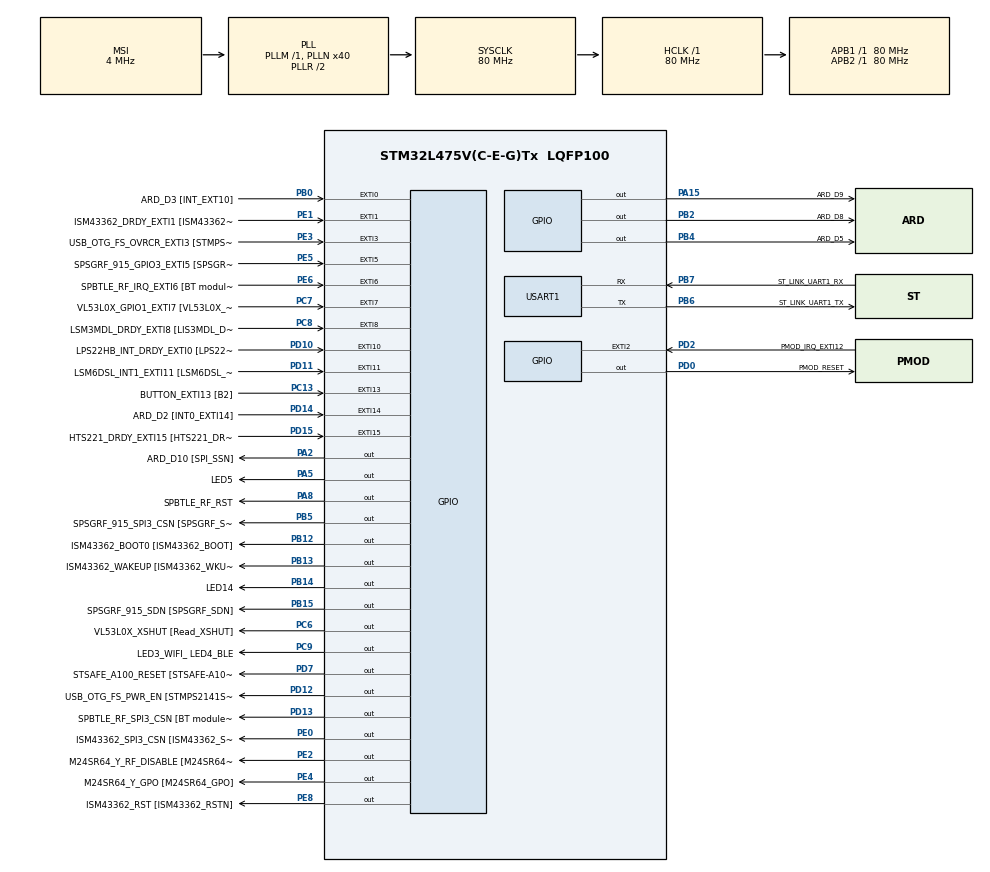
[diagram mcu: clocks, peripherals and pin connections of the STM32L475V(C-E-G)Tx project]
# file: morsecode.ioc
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Dma.Request0=USART1_RX
Dma.Request1=TIM1_UP
Dma.TIM1_UP.1.Direction=DMA_PERIPH_TO_MEMORY
Dma.TIM1_UP.1.Instance=DMA1_Channel6
Dma.TIM1_UP.1.MemDataAlignment=DMA_MDATAALIGN_HALFWORD
Dma.TIM1_UP.1.MemInc=DMA_MINC_ENABLE
Dma.TIM1_UP.1.Mode=DMA_NORMAL
Dma.TIM1_UP.1.PeriphDataAlignment=DMA_PDATAALIGN_HALFWORD
Dma.TIM1_UP.1.PeriphInc=DMA_PINC_DISABLE
Dma.TIM1_UP.1.Priority=DMA_PRIORITY_LOW
Dma.USART1_RX.0.Direction=DMA_PERIPH_TO_MEMORY
Dma.USART1_RX.0.Instance=DMA1_Channel5
Dma.USART1_RX.0.MemDataAlignment=DMA_MDATAALIGN_BYTE
Dma.USART1_RX.0.MemInc=DMA_MINC_ENABLE
Dma.USART1_RX.0.Mode=DMA_CIRCULAR
Dma.USART1_RX.0.PeriphDataAlignment=DMA_PDATAALIGN_BYTE
Dma.USART1_RX.0.PeriphInc=DMA_PINC_DISABLE
Dma.USART1_RX.0.Priority=DMA_PRIORITY_LOW
Mcu.Family=STM32L4
Mcu.Name=STM32L475V(C-E-G)Tx
Mcu.Package=LQFP100
NVIC.DMA1_Channel5_IRQn=true\:0\:0\:false\:false\:true\:false\:true
NVIC.DMA1_Channel6_IRQn=true\:0\:0\:false\:false\:true\:false\:true
NVIC.EXTI15_10_IRQn=true\:0\:0\:false\:false\:true\:true\:true
NVIC.EXTI9_5_IRQn=true\:0\:0\:false\:false\:true\:true\:true
NVIC.PriorityGroup=NVIC_PRIORITYGROUP_4
NVIC.USART1_IRQn=true\:0\:0\:false\:false\:true\:true\:true
PA0.GPIO_Label=ARD_D1 [UART4_TX]
PA0.Signal=UART4_TX
PA1.GPIO_Label=ARD_D0 [UART4_RX]
PA1.Signal=UART4_RX
PA10.GPIO_Label=USB_OTG_FS_ID
PA10.Signal=USB_OTG_FS_ID
PA11.GPIO_Label=USB_OTG_FS_DM
PA11.Signal=USB_OTG_FS_DM
PA12.GPIO_Label=USB_OTG_FS_DP
PA12.Signal=USB_OTG_FS_DP
PA13\ (JTMS-SWDIO).GPIO_Label=SYS_JTMS_SWDIO
PA13\ (JTMS-SWDIO).Signal=SYS_JTMS-SWDIO
PA14\ (JTCK-SWCLK).GPIO_Label=SYS_JTCK_SWCLK
PA14\ (JTCK-SWCLK).Signal=SYS_JTCK-SWCLK
PA15\ (JTDI).GPIO_Label=ARD_D9
PA15\ (JTDI).Signal=GPIO_Output
PA2.GPIO_Label=ARD_D10 [SPI_SSN]
PA2.Signal=GPIO_Output
PA3.GPIO_Label=ARD_D4
PA3.Signal=S_TIM2_CH4
PA4.GPIO_Label=ARD_D7
PA4.Signal=ADCx_IN9
PA5.GPIO_Label=LED5
PA5.Signal=GPIO_Output
PA6.GPIO_Label=ARD_D12 [SPI1_MISO]
PA6.Signal=SPI1_MISO
PA7.GPIO_Label=ARD_D11 [SPI1_MOSI]
PA7.Signal=SPI1_MOSI
PA8.GPIO_Label=SPBTLE_RF_RST
PA8.Signal=GPIO_Output
PA9.GPIO_Label=USB_OTG_FS_VBUS [STMPS2141STR_OUT]
PA9.Signal=USB_OTG_FS_VBUS
PB0.GPIO_Label=ARD_D3 [INT_EXT10]
PB0.Signal=GPXTI0
PB1.GPIO_Label=ARD_D6 [ADC1_IN6]
PB1.Signal=ADCx_IN16
PB10.GPIO_Label=INTERNAL_I2C2_SCL [VL53L0X_SCL]
PB10.Signal=I2C2_SCL
PB11.GPIO_Label=INTERNAL_I2C2_SDA [VL53L0X_SDA]
PB11.Signal=I2C2_SDA
PB12.GPIO_Label=ISM43362_BOOT0 [ISM43362_BOOT]
PB12.Signal=GPIO_Output
PB13.GPIO_Label=ISM43362_WAKEUP [ISM43362_WKUP]
PB13.Signal=GPIO_Output
PB14.GPIO_Label=LED14
PB14.Signal=GPIO_Output
PB15.GPIO_Label=SPSGRF_915_SDN [SPSGRF_SDN]
PB15.Signal=GPIO_Output
PB2.GPIO_Label=ARD_D8
PB2.Signal=GPIO_Output
PB3\ (JTDO-TRACESWO).GPIO_Label=SYS_JTD0_SWO
PB3\ (JTDO-TRACESWO).Signal=SYS_JTDO-SWO
PB4\ (NJTRST).GPIO_Label=ARD_D5
PB4\ (NJTRST).Signal=GPIO_Output
PB5.GPIO_Label=SPSGRF_915_SPI3_CSN [SPSGRF_SPI_CS]
PB5.PinState=GPIO_PIN_SET
PB5.Signal=GPIO_Output
PB6.GPIO_Label=ST_LINK_UART1_TX
PB6.Mode=Asynchronous
PB6.Signal=USART1_TX
PB7.GPIO_Label=ST_LINK_UART1_RX
PB7.Mode=Asynchronous
PB7.Signal=USART1_RX
PB8.GPIO_Label=ARD_D15 [I2C1_SCL]
PB8.Signal=I2C1_SCL
PB9.GPIO_Label=ARD_D14 [I2C1_SDA]
PB9.Signal=I2C1_SDA
PC0.GPIO_Label=ARD_A5 [ADC]
PC0.Signal=ADCx_IN1
PC1.GPIO_Label=ARD_A4 [ADC]
PC1.Signal=ADCx_IN2
PC10.GPIO_Label=INTERNAL_SPI3_SCK [BT module_SPI_SCLK] [ISM43362_SCK]
PC10.Signal=SPI3_SCK
PC11.GPIO_Label=INTERNAL_SPI3_MISO [BT module_SPI_MISO] [ISM43362_MISO]
PC11.Signal=SPI3_MISO
PC12.GPIO_Label=INTERNAL_SPI3_MOSI [BT module_SPI_MOSI] [ISM43362_MOSI]
PC12.Signal=SPI3_MOSI
PC13.GPIO_Label=BUTTON_EXTI13 [B2]
PC13.GPIO_ModeDefaultEXTI=GPIO_MODE_IT_FALLING
PC13.Signal=GPXTI13
PC14-OSC32_IN\ (PC14).Signal=RCC_OSC32_IN
PC15-OSC32_OUT\ (PC15).Signal=RCC_OSC32_OUT
PC2.GPIO_Label=ARD_A3 [ADC]
PC2.Signal=ADCx_IN3
PC3.GPIO_Label=ARD_A2 [ADC]
PC3.Signal=ADCx_IN4
PC4.GPIO_Label=ARD_A1 [ADC]
PC4.Signal=ADCx_IN13
PC5.GPIO_Label=ARD_A0 [ADC]
PC5.Signal=ADCx_IN14
PC6.GPIO_Label=VL53L0X_XSHUT [Read_XSHUT]
PC6.Signal=GPIO_Output
PC7.GPIO_Label=VL53L0X_GPIO1_EXTI7 [VL53L0X_GPIO1]
PC7.Signal=GPXTI7
PC8.GPIO_Label=LSM3MDL_DRDY_EXTI8 [LIS3MDL_DRDY]
PC8.Signal=GPXTI8
PC9.GPIO_Label=LED3_WIFI_ LED4_BLE
PC9.Signal=GPIO_Output
PD0.GPIO_Label=PMOD_RESET
PD0.Signal=GPIO_Output
PD1.GPIO_Label=PMOD_SPI2_SCK
PD1.Signal=SPI2_SCK
PD10.GPIO_Label=LPS22HB_INT_DRDY_EXTI0 [LPS22HB_INT_DRDY] 
PD10.Signal=GPXTI10
PD11.GPIO_Label=LSM6DSL_INT1_EXTI11 [LSM6DSL_INT1]
PD11.Signal=GPXTI11
PD12.GPIO_Label=USB_OTG_FS_PWR_EN [STMPS2141STR_EN]
PD12.Signal=GPIO_Output
PD13.GPIO_Label=SPBTLE_RF_SPI3_CSN [BT module_SPI_CS]
PD13.PinState=GPIO_PIN_SET
PD13.Signal=GPIO_Output
PD14.GPIO_Label=ARD_D2 [INT0_EXTI14]
PD14.Signal=GPXTI14
PD15.GPIO_Label=HTS221_DRDY_EXTI15 [HTS221_DRDY]
PD15.Signal=GPXTI15
PD2.GPIO_Label=PMOD_IRQ_EXTI12
PD2.Signal=GPXTI2
PD3.GPIO_Label=PMOD_UART2_CTS
PD3.Signal=USART2_CTS
PD4.GPIO_Label=PMOD_UART2_RTS
PD4.Signal=USART2_RTS
PD5.GPIO_Label=PMOD_UART2_TX
PD5.Signal=USART2_TX
PD6.GPIO_Label=PMOD_UART2_RX
PD6.Signal=USART2_RX
PD7.GPIO_Label=STSAFE_A100_RESET [STSAFE-A100_RESET]
PD7.Signal=GPIO_Output
PD8.GPIO_Label=INTERNAL_UART3_TX [ISM43362_RX]
PD8.Signal=USART3_TX
PD9.GPIO_Label=INTERNAL_UART3_RX [ISM43362_TX]
PD9.Signal=USART3_RX
PE0.GPIO_Label=ISM43362_SPI3_CSN [ISM43362_SSN]
PE0.PinState=GPIO_PIN_SET
PE0.Signal=GPIO_Output
PE1.GPIO_Label=ISM43362_DRDY_EXTI1 [ISM43362_DATARDY]
PE1.Signal=GPXTI1
PE10.GPIO_Label=QUADSPI_CLK [MX25R6435F_SCLK]
PE10.Signal=QUADSPI_CLK
PE11.GPIO_Label=QUADSPI_NCS [MX25R6435F_SCLK]
PE11.Signal=QUADSPI_NCS
PE12.GPIO_Label=OQUADSPI_BK1_IO0 [MX25R6435F_IO0]
PE12.Signal=QUADSPI_BK1_IO0
PE13.GPIO_Label=QUADSPI_BK1_IO1 [MX25R6435F_IO1]
PE13.Signal=QUADSPI_BK1_IO1
PE14.GPIO_Label=QUAD_SPI_BK1_IO2 [MX25R6435F_IO2]
PE14.Signal=QUADSPI_BK1_IO2
PE15.GPIO_Label=QUAD_SPI_BK1_IO3 [MX25R6435F_IO3]
PE15.Signal=QUADSPI_BK1_IO3
PE2.GPIO_Label=M24SR64_Y_RF_DISABLE [M24SR64_RFDIS]
PE2.Signal=GPIO_Output
PE3.GPIO_Label=USB_OTG_FS_OVRCR_EXTI3 [STMPS2141STR_FAULT]
PE3.Signal=GPXTI3
PE4.GPIO_Label=M24SR64_Y_GPO [M24SR64_GPO]
PE4.Signal=GPIO_Output
PE5.GPIO_Label=SPSGRF_915_GPIO3_EXTI5 [SPSGRF_GPIO_3]
PE5.Signal=GPXTI5
PE6.GPIO_Label=SPBTLE_RF_IRQ_EXTI6 [BT module_SPI_IRQ]
PE6.Signal=GPXTI6
PE7.GPIO_Label=DFSDM1_DATIN2 [MP34DT01_DOUT]
PE7.Signal=S_DATAIN2DFSDM1
PE8.GPIO_Label=ISM43362_RST [ISM43362_RSTN]
PE8.Signal=GPIO_Output
PE9.GPIO_Label=DFSDM1_CKOUT [MP34DT01_CLK]
PE9.Signal=S_CKOUTDFSDM1
ProjectManager.HeapSize=0x200
ProjectManager.StackSize=0x400
ProjectManager.TargetToolchain=STM32CubeIDE
RCC.ADCFreq_Value=48000000
RCC.AHBFreq_Value=80000000
RCC.APB1Freq_Value=80000000
RCC.APB1TimFreq_Value=80000000
RCC.APB2Freq_Value=80000000
RCC.APB2TimFreq_Value=80000000
RCC.CortexFreq_Value=80000000
RCC.HCLKFreq_Value=80000000
RCC.HSE_VALUE=8000000
RCC.HSI_VALUE=16000000
RCC.LSE_VALUE=32768
RCC.MSI_VALUE=4000000
RCC.PLLN=40
RCC.PLLSAI1N=24
RCC.SYSCLKFreq_VALUE=80000000
RCC.SYSCLKSource=RCC_SYSCLKSOURCE_PLLCLK
RCC.USBFreq_Value=48000000
RCC.VCOOutputFreq_Value=160000000
SH.ADCx_IN1.0=ADC1_IN1
SH.ADCx_IN13.0=ADC1_IN13
SH.ADCx_IN14.0=ADC1_IN14
SH.ADCx_IN16.0=ADC1_IN16
SH.ADCx_IN2.0=ADC1_IN2
SH.ADCx_IN3.0=ADC1_IN3
SH.ADCx_IN4.0=ADC1_IN4
SH.ADCx_IN9.0=ADC1_IN9
SH.S_CKOUTDFSDM1.0=DFSDM1_CKOUT
SH.S_DATAIN2DFSDM1.0=DFSDM1_DATIN2
SH.S_TIM2_CH4.0=TIM2_CH4
USART1.VirtualMode-Asynchronous=VM_ASYNC
VP_TIM1_VS_ClockSourceINT.Mode=Internal
board=B-L475E-IOT01A1

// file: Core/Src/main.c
/* USER CODE BEGIN Header */
/**
  ******************************************************************************
  * @file           : main.c
  * @brief          : Main program body
  ******************************************************************************
  * @attention
  *
  * <h2><center>&copy; Copyright (c) 2022 STMicroelectronics.
  * All rights reserved.</center></h2>
  *
  * This software component is licensed by ST under BSD 3-Clause license,
  * the "License"; You may not use this file except in compliance with the
  * License. You may obtain a copy of the License at:
  *                        opensource.org/licenses/BSD-3-Clause
  *
  ******************************************************************************
  */
/* USER CODE END Header */
#include "main.h"

/* USER CODE BEGIN Includes */
#include"stdio.h"
/* USER CODE END Includes */

/* USER CODE BEGIN PD */
// RULES OF MORSE CODE :                                                      //

// The length of a dot is 1 time unit.                                        //

// A dash is 3 time units.                                                    //

// The space between 2 initials are 3 time units.                             //

// 1 unit time presented by UNIT_TIME                                         //

#define UNIT_TIME 250
/* USER CODE END PD */

TIM_HandleTypeDef htim1;
DMA_HandleTypeDef hdma_tim1_up;

UART_HandleTypeDef huart1;
DMA_HandleTypeDef hdma_usart1_rx;

/* USER CODE BEGIN PV */
//uart_bfr 1 character buffer from serial communication

//cmd 1 character container from serial communication

uint8_t uart_bfr, cmd;

uint8_t cmdstate = 0; // cmdstate checking the user input it is written.

uint8_t init1; //containers of first and second initials

uint8_t init2;

uint8_t inits[2]; //array container of 2 initials

/* USER CODE END PV */

void SystemClock_Config(void);
static void MX_GPIO_Init(void);
static void MX_USART1_UART_Init(void);
static void MX_DMA_Init(void);
static void MX_TIM1_Init(void);

int main(void)
{

  /* MCU Configuration--------------------------------------------------------*/

  /* Reset of all peripherals, Initializes the Flash interface and the Systick. */
  HAL_Init();

  /* Configure the system clock */
  SystemClock_Config();

  /* Initialize all configured peripherals */
  MX_GPIO_Init();
  MX_USART1_UART_Init();
  MX_DMA_Init();
  MX_TIM1_Init();
  /* USER CODE BEGIN 2 */
  HAL_UART_Receive_DMA(&huart1, &uart_bfr, 1);
  /* USER CODE END 2 */

  /* Infinite loop */
  while (1)
  {

    /* USER CODE BEGIN 3 */
	  // The codes for user interface

		  HAL_UART_Transmit(&huart1, "\r\n", 2, 1000);

		  HAL_UART_Transmit(&huart1,"----------------------------------------\r\n", 42, 1000);

		  HAL_UART_Transmit(&huart1, "Please type your first initial\r\n", 32,1000);

		  HAL_UART_Transmit(&huart1,"Use only capital letter and 1 character:\r\n", 42, 1000);
		  HAL_UART_Receive_DMA(&huart1, uart_bfr, 1);
		  checkLetter(uart_bfr); // Check the first initial if it is between [A-Z]

		  init1 = cmd; // Store the character if it is between [A-Z]

		  HAL_UART_Transmit(&huart1,"----------------------------------------\r\n", 42, 1000);

		  HAL_UART_Transmit(&huart1, "Please type your second initial\r\n", 33,1000);

		  HAL_UART_Transmit(&huart1,"Use only capital letter and 1 character:\r\n", 42, 1000);

		  HAL_UART_Receive_DMA(&huart1, uart_bfr, 1);
		  checkLetter(uart_bfr); // Check the second initial if it is between [A-Z]

		  init2 = cmd; // Store the character if it is between [A-Z]

		  start(); // Indicate 2 stored initials with LED on board
  }
  /* USER CODE END 3 */
}

void SystemClock_Config(void)
{
  RCC_OscInitTypeDef RCC_OscInitStruct = {0};
  RCC_ClkInitTypeDef RCC_ClkInitStruct = {0};

  /** Configure the main internal regulator output voltage
  */
  if (HAL_PWREx_ControlVoltageScaling(PWR_REGULATOR_VOLTAGE_SCALE1) != HAL_OK)
  {
    Error_Handler();
  }
  /** Initializes the RCC Oscillators according to the specified parameters
  * in the RCC_OscInitTypeDef structure.
  */
  RCC_OscInitStruct.OscillatorType = RCC_OSCILLATORTYPE_MSI;
  RCC_OscInitStruct.MSIState = RCC_MSI_ON;
  RCC_OscInitStruct.MSICalibrationValue = 0;
  RCC_OscInitStruct.MSIClockRange = RCC_MSIRANGE_6;
  RCC_OscInitStruct.PLL.PLLState = RCC_PLL_ON;
  RCC_OscInitStruct.PLL.PLLSource = RCC_PLLSOURCE_MSI;
  RCC_OscInitStruct.PLL.PLLM = 1;
  RCC_OscInitStruct.PLL.PLLN = 40;
  RCC_OscInitStruct.PLL.PLLP = RCC_PLLP_DIV7;
  RCC_OscInitStruct.PLL.PLLQ = RCC_PLLQ_DIV2;
  RCC_OscInitStruct.PLL.PLLR = RCC_PLLR_DIV2;
  if (HAL_RCC_OscConfig(&RCC_OscInitStruct) != HAL_OK)
  {
    Error_Handler();
  }
  /** Initializes the CPU, AHB and APB buses clocks
  */
  RCC_ClkInitStruct.ClockType = RCC_CLOCKTYPE_HCLK|RCC_CLOCKTYPE_SYSCLK
                              |RCC_CLOCKTYPE_PCLK1|RCC_CLOCKTYPE_PCLK2;
  RCC_ClkInitStruct.SYSCLKSource = RCC_SYSCLKSOURCE_PLLCLK;
  RCC_ClkInitStruct.AHBCLKDivider = RCC_SYSCLK_DIV1;
  RCC_ClkInitStruct.APB1CLKDivider = RCC_HCLK_DIV1;
  RCC_ClkInitStruct.APB2CLKDivider = RCC_HCLK_DIV1;

  if (HAL_RCC_ClockConfig(&RCC_ClkInitStruct, FLASH_LATENCY_4) != HAL_OK)
  {
    Error_Handler();
  }
}

static void MX_TIM1_Init(void)
{

  TIM_ClockConfigTypeDef sClockSourceConfig = {0};
  TIM_MasterConfigTypeDef sMasterConfig = {0};

  htim1.Instance = TIM1;
  htim1.Init.Prescaler = 0;
  htim1.Init.CounterMode = TIM_COUNTERMODE_UP;
  htim1.Init.Period = 65535;
  htim1.Init.ClockDivision = TIM_CLOCKDIVISION_DIV1;
  htim1.Init.RepetitionCounter = 0;
  htim1.Init.AutoReloadPreload = TIM_AUTORELOAD_PRELOAD_DISABLE;
  if (HAL_TIM_Base_Init(&htim1) != HAL_OK)
  {
    Error_Handler();
  }
  sClockSourceConfig.ClockSource = TIM_CLOCKSOURCE_INTERNAL;
  if (HAL_TIM_ConfigClockSource(&htim1, &sClockSourceConfig) != HAL_OK)
  {
    Error_Handler();
  }
  sMasterConfig.MasterOutputTrigger = TIM_TRGO_RESET;
  sMasterConfig.MasterOutputTrigger2 = TIM_TRGO2_RESET;
  sMasterConfig.MasterSlaveMode = TIM_MASTERSLAVEMODE_DISABLE;
  if (HAL_TIMEx_MasterConfigSynchronization(&htim1, &sMasterConfig) != HAL_OK)
  {
    Error_Handler();
  }

}

static void MX_USART1_UART_Init(void)
{

  huart1.Instance = USART1;
  huart1.Init.BaudRate = 115200;
  huart1.Init.WordLength = UART_WORDLENGTH_8B;
  huart1.Init.StopBits = UART_STOPBITS_1;
  huart1.Init.Parity = UART_PARITY_NONE;
  huart1.Init.Mode = UART_MODE_TX_RX;
  huart1.Init.HwFlowCtl = UART_HWCONTROL_NONE;
  huart1.Init.OverSampling = UART_OVERSAMPLING_16;
  huart1.Init.OneBitSampling = UART_ONE_BIT_SAMPLE_DISABLE;
  huart1.AdvancedInit.AdvFeatureInit = UART_ADVFEATURE_NO_INIT;
  if (HAL_UART_Init(&huart1) != HAL_OK)
  {
    Error_Handler();
  }

}

static void MX_DMA_Init(void)
{

  /* DMA controller clock enable */
  __HAL_RCC_DMA1_CLK_ENABLE();

  /* DMA interrupt init */
  /* DMA1_Channel5_IRQn interrupt configuration */
  HAL_NVIC_SetPriority(DMA1_Channel5_IRQn, 0, 0);
  HAL_NVIC_EnableIRQ(DMA1_Channel5_IRQn);
  /* DMA1_Channel6_IRQn interrupt configuration */
  HAL_NVIC_SetPriority(DMA1_Channel6_IRQn, 0, 0);
  HAL_NVIC_EnableIRQ(DMA1_Channel6_IRQn);

}

static void MX_GPIO_Init(void)
{
  GPIO_InitTypeDef GPIO_InitStruct = {0};

  /* GPIO Ports Clock Enable */
  __HAL_RCC_GPIOE_CLK_ENABLE();
  __HAL_RCC_GPIOC_CLK_ENABLE();
  __HAL_RCC_GPIOA_CLK_ENABLE();
  __HAL_RCC_GPIOB_CLK_ENABLE();
  __HAL_RCC_GPIOD_CLK_ENABLE();

  /*Configure GPIO pin Output Level */
  HAL_GPIO_WritePin(GPIOE, M24SR64_Y_RF_DISABLE_Pin|M24SR64_Y_GPO_Pin|ISM43362_RST_Pin, GPIO_PIN_RESET);

  /*Configure GPIO pin Output Level */
  HAL_GPIO_WritePin(GPIOA, ARD_D10_Pin|LED5_Pin|SPBTLE_RF_RST_Pin|ARD_D9_Pin, GPIO_PIN_RESET);

  /*Configure GPIO pin Output Level */
  HAL_GPIO_WritePin(GPIOB, ARD_D8_Pin|ISM43362_BOOT0_Pin|ISM43362_WAKEUP_Pin|LED14_Pin
                          |SPSGRF_915_SDN_Pin|ARD_D5_Pin, GPIO_PIN_RESET);

  /*Configure GPIO pin Output Level */
  HAL_GPIO_WritePin(GPIOD, USB_OTG_FS_PWR_EN_Pin|PMOD_RESET_Pin|STSAFE_A100_RESET_Pin, GPIO_PIN_RESET);

  /*Configure GPIO pin Output Level */
  HAL_GPIO_WritePin(SPBTLE_RF_SPI3_CSN_GPIO_Port, SPBTLE_RF_SPI3_CSN_Pin, GPIO_PIN_SET);

  /*Configure GPIO pin Output Level */
  HAL_GPIO_WritePin(GPIOC, VL53L0X_XSHUT_Pin|LED3_WIFI__LED4_BLE_Pin, GPIO_PIN_RESET);

  /*Configure GPIO pin Output Level */
  HAL_GPIO_WritePin(SPSGRF_915_SPI3_CSN_GPIO_Port, SPSGRF_915_SPI3_CSN_Pin, GPIO_PIN_SET);

  /*Configure GPIO pin Output Level */
  HAL_GPIO_WritePin(ISM43362_SPI3_CSN_GPIO_Port, ISM43362_SPI3_CSN_Pin, GPIO_PIN_SET);

  /*Configure GPIO pins : M24SR64_Y_RF_DISABLE_Pin M24SR64_Y_GPO_Pin ISM43362_RST_Pin ISM43362_SPI3_CSN_Pin */
  GPIO_InitStruct.Pin = M24SR64_Y_RF_DISABLE_Pin|M24SR64_Y_GPO_Pin|ISM43362_RST_Pin|ISM43362_SPI3_CSN_Pin;
  GPIO_InitStruct.Mode = GPIO_MODE_OUTPUT_PP;
  GPIO_InitStruct.Pull = GPIO_NOPULL;
  GPIO_InitStruct.Speed = GPIO_SPEED_FREQ_LOW;
  HAL_GPIO_Init(GPIOE, &GPIO_InitStruct);

  /*Configure GPIO pins : USB_OTG_FS_OVRCR_EXTI3_Pin SPSGRF_915_GPIO3_EXTI5_Pin SPBTLE_RF_IRQ_EXTI6_Pin ISM43362_DRDY_EXTI1_Pin */
  GPIO_InitStruct.Pin = USB_OTG_FS_OVRCR_EXTI3_Pin|SPSGRF_915_GPIO3_EXTI5_Pin|SPBTLE_RF_IRQ_EXTI6_Pin|ISM43362_DRDY_EXTI1_Pin;
  GPIO_InitStruct.Mode = GPIO_MODE_IT_RISING;
  GPIO_InitStruct.Pull = GPIO_NOPULL;
  HAL_GPIO_Init(GPIOE, &GPIO_InitStruct);

  /*Configure GPIO pin : BUTTON_EXTI13_Pin */
  GPIO_InitStruct.Pin = BUTTON_EXTI13_Pin;
  GPIO_InitStruct.Mode = GPIO_MODE_IT_FALLING;
  GPIO_InitStruct.Pull = GPIO_NOPULL;
  HAL_GPIO_Init(BUTTON_EXTI13_GPIO_Port, &GPIO_InitStruct);

  /*Configure GPIO pins : ARD_A5_Pin ARD_A4_Pin ARD_A3_Pin ARD_A2_Pin
                           ARD_A1_Pin ARD_A0_Pin */
  GPIO_InitStruct.Pin = ARD_A5_Pin|ARD_A4_Pin|ARD_A3_Pin|ARD_A2_Pin
                          |ARD_A1_Pin|ARD_A0_Pin;
  GPIO_InitStruct.Mode = GPIO_MODE_ANALOG_ADC_CONTROL;
  GPIO_InitStruct.Pull = GPIO_NOPULL;
  HAL_GPIO_Init(GPIOC, &GPIO_InitStruct);

  /*Configure GPIO pins : ARD_D1_Pin ARD_D0_Pin */
  GPIO_InitStruct.Pin = ARD_D1_Pin|ARD_D0_Pin;
  GPIO_InitStruct.Mode = GPIO_MODE_AF_PP;
  GPIO_InitStruct.Pull = GPIO_NOPULL;
  GPIO_InitStruct.Speed = GPIO_SPEED_FREQ_VERY_HIGH;
  GPIO_InitStruct.Alternate = GPIO_AF8_UART4;
  HAL_GPIO_Init(GPIOA, &GPIO_InitStruct);

  /*Configure GPIO pins : ARD_D10_Pin LED5_Pin SPBTLE_RF_RST_Pin ARD_D9_Pin */
  GPIO_InitStruct.Pin = ARD_D10_Pin|LED5_Pin|SPBTLE_RF_RST_Pin|ARD_D9_Pin;
  GPIO_InitStruct.Mode = GPIO_MODE_OUTPUT_PP;
  GPIO_InitStruct.Pull = GPIO_NOPULL;
  GPIO_InitStruct.Speed = GPIO_SPEED_FREQ_LOW;
  HAL_GPIO_Init(GPIOA, &GPIO_InitStruct);

  /*Configure GPIO pin : ARD_D4_Pin */
  GPIO_InitStruct.Pin = ARD_D4_Pin;
  GPIO_InitStruct.Mode = GPIO_MODE_AF_PP;
  GPIO_InitStruct.Pull = GPIO_NOPULL;
  GPIO_InitStruct.Speed = GPIO_SPEED_FREQ_LOW;
  GPIO_InitStruct.Alternate = GPIO_AF1_TIM2;
  HAL_GPIO_Init(ARD_D4_GPIO_Port, &GPIO_InitStruct);

  /*Configure GPIO pin : ARD_D7_Pin */
  GPIO_InitStruct.Pin = ARD_D7_Pin;
  GPIO_InitStruct.Mode = GPIO_MODE_ANALOG_ADC_CONTROL;
  GPIO_InitStruct.Pull = GPIO_NOPULL;
  HAL_GPIO_Init(ARD_D7_GPIO_Port, &GPIO_InitStruct);

  /*Configure GPIO pins : ARD_D12_Pin ARD_D11_Pin */
  GPIO_InitStruct.Pin = ARD_D12_Pin|ARD_D11_Pin;
  GPIO_InitStruct.Mode = GPIO_MODE_AF_PP;
  GPIO_InitStruct.Pull = GPIO_NOPULL;
  GPIO_InitStruct.Speed = GPIO_SPEED_FREQ_VERY_HIGH;
  GPIO_InitStruct.Alternate = GPIO_AF5_SPI1;
  HAL_GPIO_Init(GPIOA, &GPIO_InitStruct);

  /*Configure GPIO pin : ARD_D3_Pin */
  GPIO_InitStruct.Pin = ARD_D3_Pin;
  GPIO_InitStruct.Mode = GPIO_MODE_IT_RISING;
  GPIO_InitStruct.Pull = GPIO_NOPULL;
  HAL_GPIO_Init(ARD_D3_GPIO_Port, &GPIO_InitStruct);

  /*Configure GPIO pin : ARD_D6_Pin */
  GPIO_InitStruct.Pin = ARD_D6_Pin;
  GPIO_InitStruct.Mode = GPIO_MODE_ANALOG_ADC_CONTROL;
  GPIO_InitStruct.Pull = GPIO_NOPULL;
  HAL_GPIO_Init(ARD_D6_GPIO_Port, &GPIO_InitStruct);

  /*Configure GPIO pins : ARD_D8_Pin ISM43362_BOOT0_Pin ISM43362_WAKEUP_Pin LED14_Pin
                           SPSGRF_915_SDN_Pin ARD_D5_Pin SPSGRF_915_SPI3_CSN_Pin */
  GPIO_InitStruct.Pin = ARD_D8_Pin|ISM43362_BOOT0_Pin|ISM43362_WAKEUP_Pin|LED14_Pin
                          |SPSGRF_915_SDN_Pin|ARD_D5_Pin|SPSGRF_915_SPI3_CSN_Pin;
  GPIO_InitStruct.Mode = GPIO_MODE_OUTPUT_PP;
  GPIO_InitStruct.Pull = GPIO_NOPULL;
  GPIO_InitStruct.Speed = GPIO_SPEED_FREQ_LOW;
  HAL_GPIO_Init(GPIOB, &GPIO_InitStruct);

  /*Configure GPIO pins : DFSDM1_DATIN2_Pin DFSDM1_CKOUT_Pin */
  GPIO_InitStruct.Pin = DFSDM1_DATIN2_Pin|DFSDM1_CKOUT_Pin;
  GPIO_InitStruct.Mode = GPIO_MODE_AF_PP;
  GPIO_InitStruct.Pull = GPIO_NOPULL;
  GPIO_InitStruct.Speed = GPIO_SPEED_FREQ_LOW;
  GPIO_InitStruct.Alternate = GPIO_AF6_DFSDM1;
  HAL_GPIO_Init(GPIOE, &GPIO_InitStruct);

  /*Configure GPIO pins : QUADSPI_CLK_Pin QUADSPI_NCS_Pin OQUADSPI_BK1_IO0_Pin QUADSPI_BK1_IO1_Pin
                           QUAD_SPI_BK1_IO2_Pin QUAD_SPI_BK1_IO3_Pin */
  GPIO_InitStruct.Pin = QUADSPI_CLK_Pin|QUADSPI_NCS_Pin|OQUADSPI_BK1_IO0_Pin|QUADSPI_BK1_IO1_Pin
                          |QUAD_SPI_BK1_IO2_Pin|QUAD_SPI_BK1_IO3_Pin;
  GPIO_InitStruct.Mode = GPIO_MODE_AF_PP;
  GPIO_InitStruct.Pull = GPIO_NOPULL;
  GPIO_InitStruct.Speed = GPIO_SPEED_FREQ_VERY_HIGH;
  GPIO_InitStruct.Alternate = GPIO_AF10_QUADSPI;
  HAL_GPIO_Init(GPIOE, &GPIO_InitStruct);

  /*Configure GPIO pins : INTERNAL_I2C2_SCL_Pin INTERNAL_I2C2_SDA_Pin */
  GPIO_InitStruct.Pin = INTERNAL_I2C2_SCL_Pin|INTERNAL_I2C2_SDA_Pin;
  GPIO_InitStruct.Mode = GPIO_MODE_AF_OD;
  GPIO_InitStruct.Pull = GPIO_NOPULL;
  GPIO_InitStruct.Speed = GPIO_SPEED_FREQ_VERY_HIGH;
  GPIO_InitStruct.Alternate = GPIO_AF4_I2C2;
  HAL_GPIO_Init(GPIOB, &GPIO_InitStruct);

  /*Configure GPIO pins : INTERNAL_UART3_TX_Pin INTERNAL_UART3_RX_Pin */
  GPIO_InitStruct.Pin = INTERNAL_UART3_TX_Pin|INTERNAL_UART3_RX_Pin;
  GPIO_InitStruct.Mode = GPIO_MODE_AF_PP;
  GPIO_InitStruct.Pull = GPIO_NOPULL;
  GPIO_InitStruct.Speed = GPIO_SPEED_FREQ_VERY_HIGH;
  GPIO_InitStruct.Alternate = GPIO_AF7_USART3;
  HAL_GPIO_Init(GPIOD, &GPIO_InitStruct);

  /*Configure GPIO pins : LPS22HB_INT_DRDY_EXTI0_Pin LSM6DSL_INT1_EXTI11_Pin ARD_D2_Pin HTS221_DRDY_EXTI15_Pin
                           PMOD_IRQ_EXTI12_Pin */
  GPIO_InitStruct.Pin = LPS22HB_INT_DRDY_EXTI0_Pin|LSM6DSL_INT1_EXTI11_Pin|ARD_D2_Pin|HTS221_DRDY_EXTI15_Pin
                          |PMOD_IRQ_EXTI12_Pin;
  GPIO_InitStruct.Mode = GPIO_MODE_IT_RISING;
  GPIO_InitStruct.Pull = GPIO_NOPULL;
  HAL_GPIO_Init(GPIOD, &GPIO_InitStruct);

  /*Configure GPIO pins : USB_OTG_FS_PWR_EN_Pin SPBTLE_RF_SPI3_CSN_Pin PMOD_RESET_Pin STSAFE_A100_RESET_Pin */
  GPIO_InitStruct.Pin = USB_OTG_FS_PWR_EN_Pin|SPBTLE_RF_SPI3_CSN_Pin|PMOD_RESET_Pin|STSAFE_A100_RESET_Pin;
  GPIO_InitStruct.Mode = GPIO_MODE_OUTPUT_PP;
  GPIO_InitStruct.Pull = GPIO_NOPULL;
  GPIO_InitStruct.Speed = GPIO_SPEED_FREQ_LOW;
  HAL_GPIO_Init(GPIOD, &GPIO_InitStruct);

  /*Configure GPIO pins : VL53L0X_XSHUT_Pin LED3_WIFI__LED4_BLE_Pin */
  GPIO_InitStruct.Pin = VL53L0X_XSHUT_Pin|LED3_WIFI__LED4_BLE_Pin;
  GPIO_InitStruct.Mode = GPIO_MODE_OUTPUT_PP;
  GPIO_InitStruct.Pull = GPIO_NOPULL;
  GPIO_InitStruct.Speed = GPIO_SPEED_FREQ_LOW;
  HAL_GPIO_Init(GPIOC, &GPIO_InitStruct);

  /*Configure GPIO pins : VL53L0X_GPIO1_EXTI7_Pin LSM3MDL_DRDY_EXTI8_Pin */
  GPIO_InitStruct.Pin = VL53L0X_GPIO1_EXTI7_Pin|LSM3MDL_DRDY_EXTI8_Pin;
  GPIO_InitStruct.Mode = GPIO_MODE_IT_RISING;
  GPIO_InitStruct.Pull = GPIO_NOPULL;
  HAL_GPIO_Init(GPIOC, &GPIO_InitStruct);

  /*Configure GPIO pin : USB_OTG_FS_VBUS_Pin */
  GPIO_InitStruct.Pin = USB_OTG_FS_VBUS_Pin;
  GPIO_InitStruct.Mode = GPIO_MODE_INPUT;
  GPIO_InitStruct.Pull = GPIO_NOPULL;
  HAL_GPIO_Init(USB_OTG_FS_VBUS_GPIO_Port, &GPIO_InitStruct);

  /*Configure GPIO pins : USB_OTG_FS_ID_Pin USB_OTG_FS_DM_Pin USB_OTG_FS_DP_Pin */
  GPIO_InitStruct.Pin = USB_OTG_FS_ID_Pin|USB_OTG_FS_DM_Pin|USB_OTG_FS_DP_Pin;
  GPIO_InitStruct.Mode = GPIO_MODE_AF_PP;
  GPIO_InitStruct.Pull = GPIO_NOPULL;
  GPIO_InitStruct.Speed = GPIO_SPEED_FREQ_VERY_HIGH;
  GPIO_InitStruct.Alternate = GPIO_AF10_OTG_FS;
  HAL_GPIO_Init(GPIOA, &GPIO_InitStruct);

  /*Configure GPIO pins : INTERNAL_SPI3_SCK_Pin INTERNAL_SPI3_MISO_Pin INTERNAL_SPI3_MOSI_Pin */
  GPIO_InitStruct.Pin = INTERNAL_SPI3_SCK_Pin|INTERNAL_SPI3_MISO_Pin|INTERNAL_SPI3_MOSI_Pin;
  GPIO_InitStruct.Mode = GPIO_MODE_AF_PP;
  GPIO_InitStruct.Pull = GPIO_NOPULL;
  GPIO_InitStruct.Speed = GPIO_SPEED_FREQ_VERY_HIGH;
  GPIO_InitStruct.Alternate = GPIO_AF6_SPI3;
  HAL_GPIO_Init(GPIOC, &GPIO_InitStruct);

  /*Configure GPIO pin : PMOD_SPI2_SCK_Pin */
  GPIO_InitStruct.Pin = PMOD_SPI2_SCK_Pin;
  GPIO_InitStruct.Mode = GPIO_MODE_AF_PP;
  GPIO_InitStruct.Pull = GPIO_NOPULL;
  GPIO_InitStruct.Speed = GPIO_SPEED_FREQ_VERY_HIGH;
  GPIO_InitStruct.Alternate = GPIO_AF5_SPI2;
  HAL_GPIO_Init(PMOD_SPI2_SCK_GPIO_Port, &GPIO_InitStruct);

  /*Configure GPIO pins : PMOD_UART2_CTS_Pin PMOD_UART2_RTS_Pin PMOD_UART2_TX_Pin PMOD_UART2_RX_Pin */
  GPIO_InitStruct.Pin = PMOD_UART2_CTS_Pin|PMOD_UART2_RTS_Pin|PMOD_UART2_TX_Pin|PMOD_UART2_RX_Pin;
  GPIO_InitStruct.Mode = GPIO_MODE_AF_PP;
  GPIO_InitStruct.Pull = GPIO_NOPULL;
  GPIO_InitStruct.Speed = GPIO_SPEED_FREQ_VERY_HIGH;
  GPIO_InitStruct.Alternate = GPIO_AF7_USART2;
  HAL_GPIO_Init(GPIOD, &GPIO_InitStruct);

  /*Configure GPIO pins : ARD_D15_Pin ARD_D14_Pin */
  GPIO_InitStruct.Pin = ARD_D15_Pin|ARD_D14_Pin;
  GPIO_InitStruct.Mode = GPIO_MODE_AF_OD;
  GPIO_InitStruct.Pull = GPIO_NOPULL;
  GPIO_InitStruct.Speed = GPIO_SPEED_FREQ_VERY_HIGH;
  GPIO_InitStruct.Alternate = GPIO_AF4_I2C1;
  HAL_GPIO_Init(GPIOB, &GPIO_InitStruct);

  /* EXTI interrupt init*/
  HAL_NVIC_SetPriority(EXTI9_5_IRQn, 0, 0);
  HAL_NVIC_EnableIRQ(EXTI9_5_IRQn);

  HAL_NVIC_SetPriority(EXTI15_10_IRQn, 0, 0);
  HAL_NVIC_EnableIRQ(EXTI15_10_IRQn);

}

/* USER CODE BEGIN 4 */
/*void HAL_UART_RxCpltCallback(UART_HandleTypeDef *huart)
{
	HAL_UART_Transmit(&huart1, "HAL_UART_RxCpltCallback function \r\n", 26, 1000);
	HAL_GPIO_TogglePin(LED5_GPIO_Port, GPIO_PIN_5);
	HAL_Delay(20);

}*/

void HAL_UART_RxCpltCallback(UART_HandleTypeDef *huart)
{
	HAL_UART_Transmit(&huart1, "HAL_UART_RxCpltCallback function \r\n", 26, 1000);
	if ((uart_bfr != 0x0D) && (uart_bfr != 0x0A))
	{
		cmd = uart_bfr;
	}
	cmdstate = 1;
	HAL_UART_Receive_DMA(&huart1, &uart_bfr, 1);
	//HAL_UART_Receive_IT(&huart1, &uart_bfr, 1);

}

// FUNCTION      : start
// DESCRIPTION   :
//   The function stores initials to array
// 	 Indicates the Led with stores initals
//	 Show the user if it is in progress.
// PARAMETERS    :
//                 Void
// RETURNS       :
//				   Void
void start() {
	inits[0] = init1;
	inits[1] = init2;

	HAL_UART_Transmit(&huart1, "----------------------------------------\r\n", 42, 1000);
	HAL_UART_Transmit(&huart1, "Your initials - ", 16, 1000);
	HAL_UART_Transmit(&huart1, inits, 2, 1000);
	HAL_UART_Transmit(&huart1, " - are in progress..\r\n", 22, 1000);

	ledMorseAlphabet(init1); // Match the first character between A-Z and make the morse indication.

	space(); // 3 morse unit time space between 2 initials
	space();
	space();

	ledMorseAlphabet(init2); // Match the second character between A-Z and make the morse indication.

	space(); // 3 morse unit time space between 2 initials
	space();
	space();
	HAL_UART_Transmit(&huart1, "\r\n", 2, 1000);
	HAL_UART_Transmit(&huart1, "COMPLETED!\r\n", 12, 1000);

	return;
}

// FUNCTION      : dot
// DESCRIPTION   :
//    "dot" indication of morse alphabet.
//    On/Off time of dot is one unit time. (250 ms.)
// PARAMETERS    :
//                 Void
// RETURNS       :
//				   Void

void dot() {
	HAL_UART_Transmit(&huart1, " . ", 3, 1000);//Serial output to show user, current state
	ledTiming(UNIT_TIME, UNIT_TIME);
	return;

}

// FUNCTION      : dash
// DESCRIPTION   :
//    "dash" indication of morse alphabet.
//    On time of dash is three unit time. (750 ms.)
//	  Off time of dash is one time. (250 ms.)
// PARAMETERS    :
//                 Void
// RETURNS       :
//				   Void

void dash() {
	HAL_UART_Transmit(&huart1, " - ", 3, 1000);	//Serial output to show user, current state
	ledTiming(3 * UNIT_TIME, UNIT_TIME);
	return;
}

// FUNCTION      : ledTiming
// DESCRIPTION   :
//    The actual function which controls the LED on/off
//    The indication LED is PB3 ( embedded led on stm32)
// PARAMETERS    :
//                 ontime: for LED high timing.
//				   offtime: for LED low timing
//
// RETURNS       :
//				   Void

void ledTiming(int onTime, int offTime) {

	HAL_GPIO_WritePin(LED14_GPIO_Port, LED14_Pin, 1);
	HAL_Delay(onTime);
	HAL_GPIO_WritePin(LED14_GPIO_Port, LED14_Pin, 0);
	HAL_Delay(offTime);
	return;
}

// FUNCTION      : space
// DESCRIPTION   :
//    "space" indication of morse alphabet.
//	  space time is determined as 1 unit time.
// PARAMETERS    :
//                 Void
// RETURNS       :
//				   Void

void space() {
	HAL_Delay(UNIT_TIME);
	HAL_UART_Transmit(&huart1, "   ", 3, 1000); //Serial output to show user, current state
	return;
}

// FUNCTION      : ledMorseAlphabet
// DESCRIPTION   :
//    Match the character if it is between A-Z
//    It is suppose to match between A-Z. Because we ensure it is in A-Z
//	  by using checkletter function.
// PARAMETERS    :
//                 input : the character passing through to match.
// RETURNS       :
//				   Void

void ledMorseAlphabet(uint8_t input) {
	//HAL_UART_Transmit(&huart1,"in switch case:\r\n %c ",input, 42, 1000);
	//snprintf(str_tmp,100," HUMIDITY = %d.%02d  ", humInt1, humInt2);
	//HAL_UART_Transmit(&huart1,( uint8_t * )input,sizeof(input),1000);
	switch (input) {
	case 'A':
		dot();space();dash();
		break;
	case 'B':
		dash();space();dot();space();dot();space();dot();
		break;
	case 'C':
		dash();space();dot();space();dash();space();dot();
		break;
	case 'D':
		dash();space();dot();space();dot();space();
		break;
	case 'E':
		dot();
		break;
	case 'F':
		dot();space();dot();space();dash();space();dot();
		break;
	case 'G':
		dash();space();dash();space();dot();
		break;
	case 'H':
		dot();space();dot();space();dot();space();dot();
		break;
	case 'I':
		dot();space();dot();
		break;
	case 'J':
		dot();space();dash();space();dash();space();dash();
		break;
	case 'K':
		dash();space();dot();space();dash();
		break;
	case 'L':
		dot();space();dash();space();dot();space();dot();
		break;
	case 'M':
		dash();space();dash();
	case 'N':
		dash();space();dot();
	case 'O':
		dash();space();dash();space();dash();space();
		break;
	case 'P':
		dot();space();dash();space();dash();space();dot();
		break;
	case 'Q':
		dash();space();dash();space();dot();space();dash();
		break;
	case 'R':
		dot();space();dash();space();dot();
		break;
	case 'S':
		dot();space();dot();space();dot();
		break;
	case 'T':
		dash();
		break;
	case 'U':
		dot();space();dot();space();dash();
		break;
	case 'V':
		dot();space();dot();space();dot();space();dash();
		break;
	case 'W':
		dot();space();dash();space();dash();
		break;
	case 'X':
		dash();space();dot();space();dot();space();dash();
		break;
	case 'Y':
		dash();space();dot();space();dash();space();dash();
		break;
	case 'Z':
		dash();space();dash();space();dot();space();dot();
		break;
	default:
		// Error state
		dash();space();dash();space();dash();space();dash();space();dash();space();dash();space();
	}
}

// FUNCTION      : checkLetter
// DESCRIPTION   :
//    Match the character if it is between A-Z
//    It is suppose to match between A-Z. Because we ensure it is in A-Z
//	  by using checkletter function.
// PARAMETERS    :
//                 input : the character passing through to match.
// RETURNS       :
//				   Void

void checkLetter(char c) {
	//HAL_UART_Transmit(&huart1,( char * )input,sizeof(input),1000);
	HAL_UART_Transmit(&huart1, "check letter function \r\n", 26, 1000);
	while (1) {
		/*char c;*/
		if (cmdstate == 1) {
			for (c = 'A'; c <= 'Z'; ++c) {
				if (cmd == c) {
					HAL_UART_Transmit(&huart1, " is one of your initials\r\n", 26, 1000);

					//cmdstate is like control bit of if user typed a input.
					//if it is not this function will be wait inside while loop for user to type input.
					cmdstate = 0;
					return 0;
				}
			}
			HAL_UART_Transmit(&huart1," is not valid. Please select between [A-Z]\r\n", 44, 1000);
			HAL_UART_Transmit(&huart1, "----------------------------------------\r\n", 42, 1000);
			cmdstate = 0;
			uart_bfr = '\0';

		}
	}

}

/* USER CODE END 4 */

void Error_Handler(void)
{
  __disable_irq();
  while (1)
  {
  }
}

/************************ (C) COPYRIGHT STMicroelectronics *****END OF FILE****/
